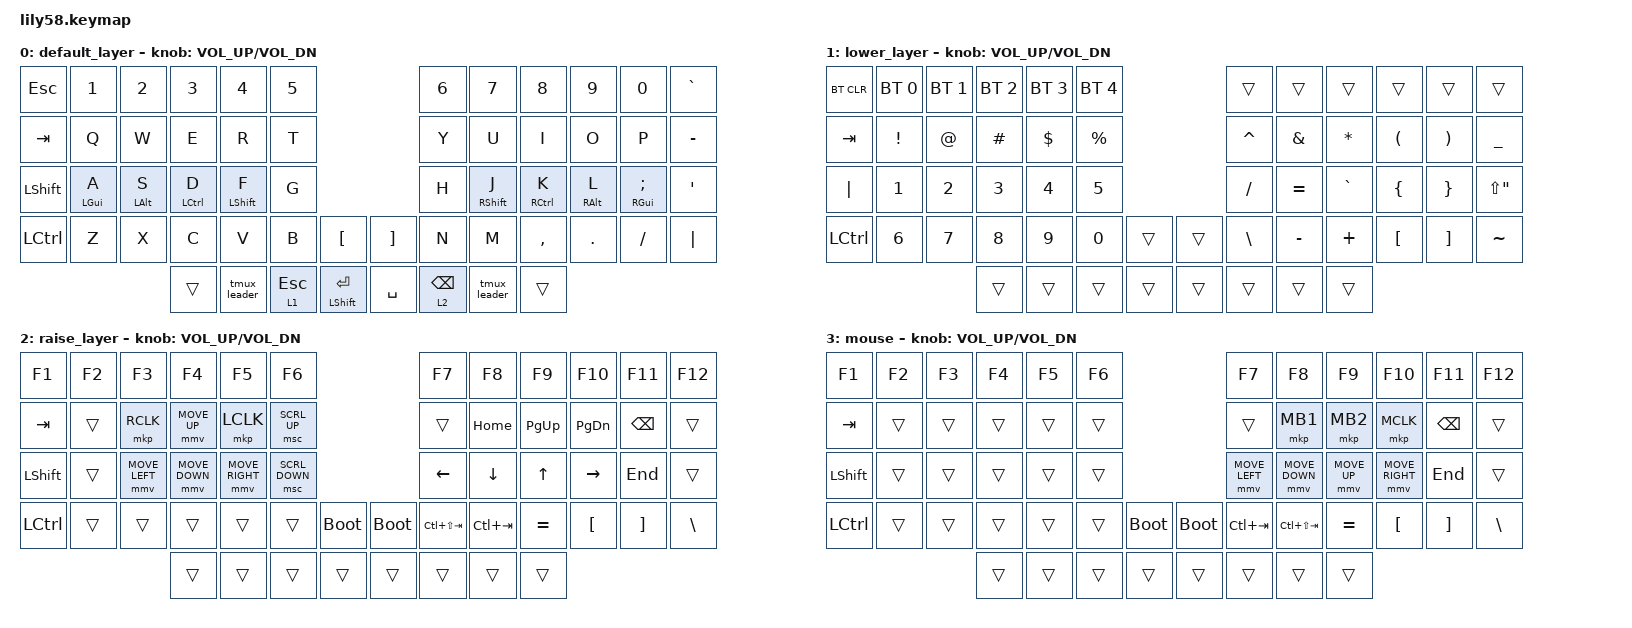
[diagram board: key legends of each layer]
/*
 * Copyright (c) 2020 The ZMK Contributors
 *
 * SPDX-License-Identifier: MIT
 */

#define ZMK_POINTING_DEFAULT_MOVE_VAL 1800
#define ZMK_POINTING_DEFAULT_SCRL_VAL 20

#include <dt-bindings/zmk/behaviors.h>
#include <behaviors.dtsi>
#include <dt-bindings/zmk/bt.h>
#include <dt-bindings/zmk/keys.h>
#include <dt-bindings/zmk/pointing.h>

&soft_off {
    hold-time-ms = <3000>; // Only turn off it the key is held for 5 seconds or longer.
};

&soft_off { /delete-property/ split-peripheral-off-on-press; };

/ {
    behaviors {
        my_mt: my_mt {
            compatible = "zmk,behavior-hold-tap";
            label = "MY_MT";
            bindings = <&kp>, <&kp>;

            #binding-cells = <2>;
            tapping-term-ms = <200>;
            quick-tap-ms = <0>;
            require-prior-idle-ms = <130>;
            flavor = "tap-preferred";
        };
    };

    macros {
        tmux_leader: tmux_leader {
            compatible = "zmk,behavior-macro";
            #binding-cells = <0>;
            bindings = <&kp LC(SPACE)>;
            label = "TMUX_LEADER";
        };
    };

    keymap {
        compatible = "zmk,keymap";

        default_layer {
            // ------------------------------------------------------------------------------------------------------------
            // |  ESC  |  1  |  2  |  3   |  4   |  5   |                   |  6   |  7    |  8    |  9   |   0   |   `   |
            // |  TAB  |  Q  |  W  |  E   |  R   |  T   |                   |  Y   |  U    |  I    |  O   |   P   |   -   |
            // |  CTRL |  A  |  S  |  D   |  F   |  G   |                   |  H   |  J    |  K    |  L   |   ;   |   '   |
            // | SHIFT |  Z  |  X  |  C   |  V   |  B   |   "["  |  |  "]"  |  N   |  M    |  ,    |  .   |   /   | SHIFT |
            //                     | ALT  | GUI  | LOWER|  ENTER |  | SPACE | RAISE| BSPC  | GUI   |

            bindings = <
&kp ESC    &kp N1         &kp N2         &kp N3          &kp N4          &kp N5                                        &kp N6           &kp N7          &kp N8          &kp N9         &kp N0            &kp GRAVE
&kp TAB    &kp Q          &kp W          &kp E           &kp R           &kp T                                         &kp Y            &kp U           &kp I           &kp O          &kp P             &kp MINUS
&kp LSHFT  &my_mt LGUI A  &my_mt LALT S  &my_mt LCTRL D  &my_mt LSHFT F  &kp G                                         &kp H            &my_mt RSHFT J  &my_mt RCTRL K  &my_mt RALT L  &my_mt RGUI SEMI  &kp APOS
&kp LCTRL  &kp Z          &kp X          &kp C           &kp V           &kp B      &kp LBKT                &kp RBKT   &kp N            &kp M           &kp COMMA       &kp DOT        &kp FSLH          &kp PIPE
                                         &trans          &tmux_leader    &lt 1 ESC  &mt LEFT_SHIFT ENTER    &kp SPACE  &lt 2 BACKSPACE  &tmux_leader    &trans
            >;

            sensor-bindings = <&inc_dec_kp C_VOL_UP C_VOL_DN>;
        };

        lower_layer {
            // ------------------------------------------------------------------------------------------------------------
            // | BTCLR | BT1 | BT2 |  BT3 |  BT4 |  BT5 |                   |      |       |       |      |       |       |
            // |  F1   |  F2 |  F3 |  F4  |  F5  |  F6  |                   |  F7  |  F8   |  F9   |  F10 |  F11  |  F12  |
            // |   `   |  !  |  @  |  #   |  $   |  %   |                   |  ^   |  &    |  *    |  (   |   )   |   ~   |
            // |       |     |     |      |      |      |        |  |       |      |  _    |  +    |  {   |   }   |  "|"  |
            //                     |      |      |      |        |  |       |      |       |       |

            bindings = <
&bt BT_CLR  &bt BT_SEL 0  &bt BT_SEL 1  &bt BT_SEL 2  &bt BT_SEL 3  &bt BT_SEL 4                    &trans         &trans     &trans     &trans            &trans             &trans
&kp TAB     &kp EXCL      &kp AT        &kp HASH      &kp DOLLAR    &kp PERCENT                     &kp CARET      &kp AMPS   &kp STAR   &kp LPAR          &kp RPAR           &kp UNDER
&kp PIPE    &kp N1        &kp N2        &kp N3        &kp NUMBER_4  &kp NUMBER_5                    &kp SLASH      &kp EQUAL  &kp GRAVE  &kp LEFT_BRACE    &kp RIGHT_BRACE    &kp LS(DOUBLE_QUOTES)
&kp LCTRL   &kp N6        &kp N7        &kp N8        &kp N9        &kp N0        &trans    &trans  &kp BACKSLASH  &kp MINUS  &kp PLUS   &kp LEFT_BRACKET  &kp RIGHT_BRACKET  &kp TILDE
                                        &trans        &trans        &trans        &trans    &trans  &trans         &trans     &trans
            >;

            sensor-bindings = <&inc_dec_kp C_VOL_UP C_VOL_DN>;
        };

        raise_layer {
            // ------------------------------------------------------------------------------------------------------------
            // |       |     |     |      |      |      |                   |      |       |       |      |       |       |
            // |   `   |  1  |  2  |  3   |  4   |  5   |                   |  6   |   7   |   8   |  9   |   0   |       |
            // |   F1  |  F2 |  F3 |  F4  |  F5  |  F6  |                   |      |   <-  |   v   |  ^   |  ->   |       |
            // |   F7  |  F8 |  F9 |  F10 |  F11 |  F12 |        |  |       |  +   |   -   |   =   |  [   |   ]   |   \   |
            //                     |      |      |      |        |  |       |      |       |       |

            bindings = <
&kp F1          &kp F2  &kp F3          &kp F4          &kp F5           &kp F6                                      &kp F7           &kp F8       &kp F9     &kp F10        &kp F11        &kp F12
&kp TAB         &trans  &mkp RCLK       &mmv MOVE_UP    &mkp LCLK        &msc SCRL_UP                                &trans           &kp HOME     &kp PG_UP  &kp PAGE_DOWN  &kp BACKSPACE  &trans
&kp LEFT_SHIFT  &trans  &mmv MOVE_LEFT  &mmv MOVE_DOWN  &mmv MOVE_RIGHT  &msc SCRL_DOWN                              &kp LEFT         &kp DOWN     &kp UP     &kp RIGHT      &kp END        &trans
&kp LCTRL       &trans  &trans          &trans          &trans           &trans          &bootloader    &bootloader  &kp LC(LS(TAB))  &kp LC(TAB)  &kp EQUAL  &kp LBKT       &kp RBKT       &kp BSLH
                                        &trans          &trans           &trans          &trans         &trans       &trans           &trans       &trans
            >;

            sensor-bindings = <&inc_dec_kp C_VOL_UP C_VOL_DN>;
        };

        mouse {
            bindings = <
&kp F1          &kp F2  &kp F3  &kp F4  &kp F5  &kp F6                              &kp F7          &kp F8           &kp F9        &kp F10          &kp F11        &kp F12
&kp TAB         &trans  &trans  &trans  &trans  &trans                              &trans          &mkp MB1         &mkp MB2      &mkp MCLK        &kp BACKSPACE  &trans
&kp LEFT_SHIFT  &trans  &trans  &trans  &trans  &trans                              &mmv MOVE_LEFT  &mmv MOVE_DOWN   &mmv MOVE_UP  &mmv MOVE_RIGHT  &kp END        &trans
&kp LCTRL       &trans  &trans  &trans  &trans  &trans  &bootloader    &bootloader  &kp LC(TAB)     &kp LC(LS(TAB))  &kp EQUAL     &kp LBKT         &kp RBKT       &kp BSLH
                                &trans  &trans  &trans  &trans         &trans       &trans          &trans           &trans
            >;

            sensor-bindings = <&inc_dec_kp C_VOL_UP C_VOL_DN>;
        };

        extra1 { status = "reserved"; };

        extra2 { status = "reserved"; };

        extra3 { status = "reserved"; };
    };
};
